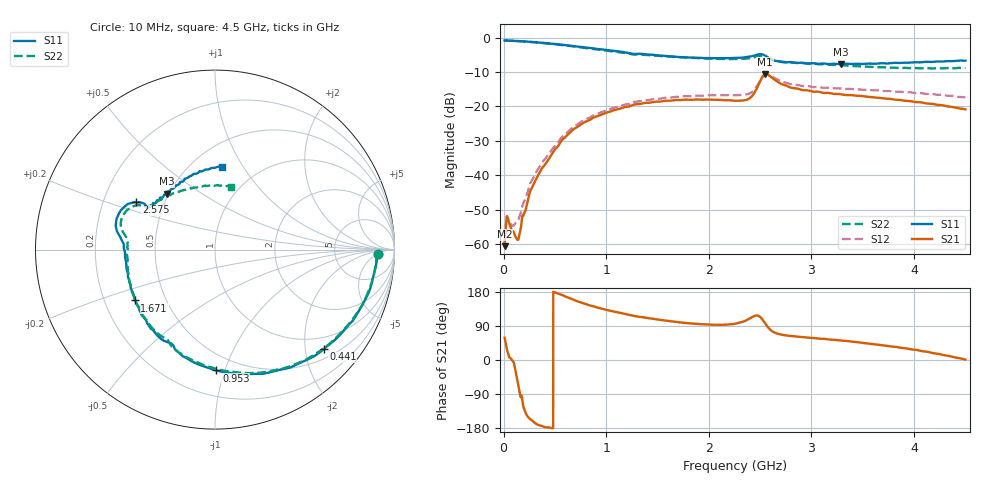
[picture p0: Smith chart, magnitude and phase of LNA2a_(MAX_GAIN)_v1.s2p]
! Created Tue Apr 16 19:43:26 2013
# ghz S ma R 50
! 2 Port Network Data from SP1.SP block
! freq  magS11  angS11  magS21  angS21  magS12  angS12  magS22  angS22
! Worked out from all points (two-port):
!   4491 points, 10 MHz to 4.5 GHz, reference 50 ohm
!   highest |S21| = -10.65 dB at 2.547 GHz (marker M1); lowest = -60.6 dB at 10 MHz (marker M2)
!   |S21| within 3 dB of the highest: 2.485 GHz to 2.721 GHz (235.9 MHz wide, 9.06 % of centre)
!   lowest |S11| = -7.7 dB at 3.287 GHz (marker M3), VSWR 2.39, Z = 24.4 + j18.3 ohm
!   |S11| at or under -10 dB: nowhere
!   |S22| runs from -9.0 to -0.9 dB; largest |S21 - S12| = 0.048
!   S11 on the Smith chart (normalised r, x): 10 MHz: 19, -5; 441 MHz: 0.70, -2.39; 953 MHz: 0.38, -0.94; 1.671 GHz: 0.33, -0.26; 2.575 GHz: 0.34, +0.25; 4.5 GHz: 0.69, +0.81
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0.01  0.9071 -1.5  0.0009366 58.8  0.0009837 55.1  0.9059 -1.4
0.045  0.9026 -4.3  0.002237 16.8  0.002343 12.6  0.8999 -4.5
0.091  0.8958 -8.7  0.001537 -3.4  0.001859 -15.0  0.8957 -8.7
0.143  0.8911 -14.4  0.001168 -65.8  0.002238 -64.8  0.8881 -13.7
0.268  0.8652 -26.5  0.006256 -157.8  0.008073 -141.8  0.8622 -25.8
0.441  0.8207 -42.5  0.01732 -177.9  0.02066 -169.6  0.8178 -42.3
0.577  0.7826 -55.7  0.03344 170.8  0.03696 177.2  0.7767 -55.9
0.759  0.7293 -71.6  0.05553 151.4  0.06013 157.8  0.7179 -73.2
0.953  0.6736 -89.3  0.07619 135.7  0.08266 142.0  0.6567 -91.3
1.182  0.6088 -109.3  0.09793 121.6  0.1062 128.1  0.5986 -112.1
1.507  0.5484 -135.4  0.1175 106.4  0.1294 112.5  0.5427 -138.3
1.671  0.5288 -147.6  0.1238 100.9  0.1379 106.9  0.5208 -150.3
2.255  0.507 179.7  0.1207 95.6  0.1449 98.1  0.487 177.7
2.407  0.5311 172.6  0.1346 111.0  0.157 108.1  0.5033 171.6
2.495  0.5729 163.8  0.2251 114.7  0.2306 112.7  0.5428 165.2
2.547  0.5491 152.5  0.2933 97.3  0.2936 99.8  0.538 156.0
2.575  0.5121 148.9  0.2896 86.8  0.2947 90.9  0.5123 151.7
2.791  0.4414 146.6  0.1891 63.7  0.2105 70.6  0.4358 145.9
3.004  0.4241 140.0  0.1653 58.4  0.1921 65.6  0.4178 139.6
3.287  0.4107 130.7  0.1502 51.2  0.1824 58.5  0.3946 129.9
3.752  0.4211 114.5  0.1292 36.6  0.1673 44.0  0.3659 111.4
4.5  0.462 85.3  0.09065 1.1  0.1354 10.7  0.3593 75.8
